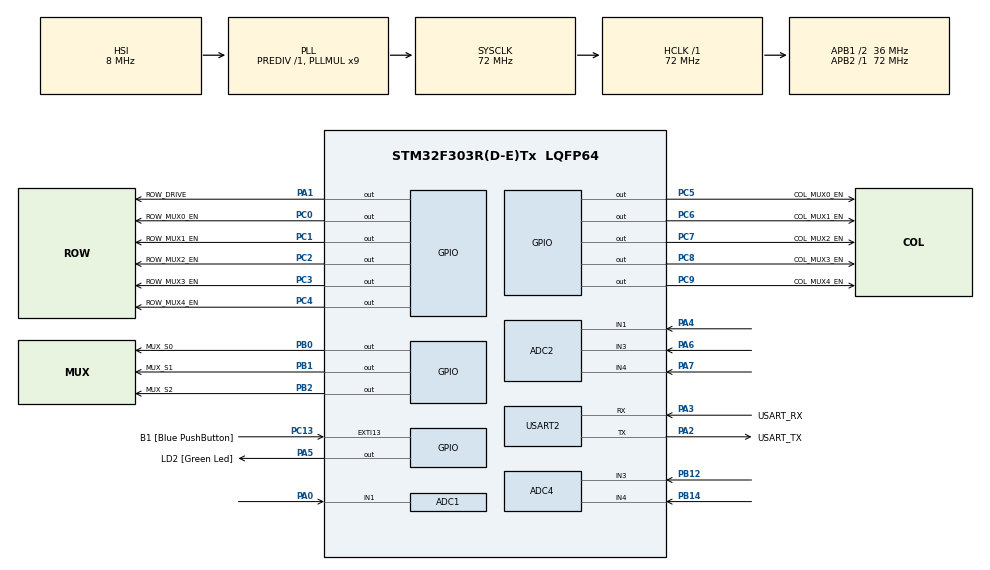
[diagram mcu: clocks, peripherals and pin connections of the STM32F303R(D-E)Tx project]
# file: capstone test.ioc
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ADC1.Channel-0\#ChannelRegularConversion=ADC_CHANNEL_1
ADC1.ContinuousConvMode=ENABLE
ADC1.NbrOfConversionFlag=1
ADC1.Offset-0\#ChannelRegularConversion=0
ADC1.OffsetNumber-0\#ChannelRegularConversion=ADC_OFFSET_NONE
ADC1.Rank-0\#ChannelRegularConversion=1
ADC1.SamplingTime-0\#ChannelRegularConversion=ADC_SAMPLETIME_1CYCLE_5
ADC1.master=1
ADC2.Channel-0\#ChannelRegularConversion=ADC_CHANNEL_1
ADC2.NbrOfConversionFlag=1
ADC2.Offset-0\#ChannelRegularConversion=0
ADC2.OffsetNumber-0\#ChannelRegularConversion=ADC_OFFSET_NONE
ADC2.Rank-0\#ChannelRegularConversion=1
ADC2.SamplingTime-0\#ChannelRegularConversion=ADC_SAMPLETIME_1CYCLE_5
ADC3.Channel-0\#ChannelRegularConversion=ADC_CHANNEL_1
ADC3.NbrOfConversionFlag=1
ADC3.Offset-0\#ChannelRegularConversion=0
ADC3.OffsetNumber-0\#ChannelRegularConversion=ADC_OFFSET_NONE
ADC3.Rank-0\#ChannelRegularConversion=1
ADC3.SamplingTime-0\#ChannelRegularConversion=ADC_SAMPLETIME_1CYCLE_5
ADC3.SamplingTimeOPAMP-0\#ChannelRegularConversion=ADC_SAMPLETIME_61CYCLES_5
ADC3.master=1
ADC4.Channel-0\#ChannelRegularConversion=ADC_CHANNEL_3
ADC4.NbrOfConversionFlag=1
ADC4.Offset-0\#ChannelRegularConversion=0
ADC4.OffsetNumber-0\#ChannelRegularConversion=ADC_OFFSET_NONE
ADC4.Rank-0\#ChannelRegularConversion=1
ADC4.SamplingTime-0\#ChannelRegularConversion=ADC_SAMPLETIME_1CYCLE_5
Mcu.Family=STM32F3
Mcu.Name=STM32F303R(D-E)Tx
Mcu.Package=LQFP64
NVIC.PriorityGroup=NVIC_PRIORITYGROUP_0
PA0.Mode=IN1-Single-Ended
PA0.Signal=ADC1_IN1
PA1.GPIO_Label=ROW_DRIVE
PA1.Signal=GPIO_Output
PA13.GPIO_Label=TMS
PA13.Mode=Serial_Wire
PA13.Signal=SYS_JTMS-SWDIO
PA14.GPIO_Label=TCK
PA14.Mode=Serial_Wire
PA14.Signal=SYS_JTCK-SWCLK
PA2.GPIO_Label=USART_TX
PA2.GPIO_Mode=GPIO_MODE_AF_PP
PA2.GPIO_PuPd=GPIO_NOPULL
PA2.GPIO_Speed=GPIO_SPEED_FREQ_LOW
PA2.Mode=Asynchronous
PA2.Signal=USART2_TX
PA3.GPIO_Label=USART_RX
PA3.GPIO_Mode=GPIO_MODE_AF_PP
PA3.GPIO_PuPd=GPIO_NOPULL
PA3.GPIO_Speed=GPIO_SPEED_FREQ_LOW
PA3.Mode=Asynchronous
PA3.Signal=USART2_RX
PA4.Mode=IN1-Single-Ended
PA4.Signal=ADC2_IN1
PA5.GPIO_Label=LD2 [Green Led]
PA5.GPIO_Mode=GPIO_MODE_OUTPUT_PP
PA5.GPIO_PuPd=GPIO_NOPULL
PA5.GPIO_Speed=GPIO_SPEED_FREQ_LOW
PA5.Signal=GPIO_Output
PA6.Mode=IN3-Single-Ended
PA6.Signal=ADC2_IN3
PA7.Mode=IN4-Single-Ended
PA7.Signal=ADC2_IN4
PB1.Mode=IN1-Single-Ended
PB1.Signal=ADC3_IN1
PB12.Mode=IN3-Single-Ended
PB12.Signal=ADC4_IN3
PB14.Mode=IN4-Single-Ended
PB14.Signal=ADC4_IN4
PB3.GPIO_Label=SWO
PB3.Signal=SYS_JTDO-TRACESWO
PB0.GPIO_Label=MUX_S0
PB0.Signal=GPIO_Output
PB1.GPIO_Label=MUX_S1
PB1.Signal=GPIO_Output
PB2.GPIO_Label=MUX_S2
PB2.Signal=GPIO_Output
PC0.GPIO_Label=ROW_MUX0_EN
PC0.Signal=GPIO_Output
PC1.GPIO_Label=ROW_MUX1_EN
PC1.Signal=GPIO_Output
PC13.GPIO_Label=B1 [Blue PushButton]
PC13.GPIO_ModeDefaultEXTI=GPIO_MODE_IT_FALLING
PC13.Signal=GPXTI13
PC14-OSC32_IN.Mode=LSE-External-Oscillator
PC14-OSC32_IN.Signal=RCC_OSC32_IN
PC15-OSC32_OUT.Mode=LSE-External-Oscillator
PC15-OSC32_OUT.Signal=RCC_OSC32_OUT
PC2.GPIO_Label=ROW_MUX2_EN
PC2.Signal=GPIO_Output
PC3.GPIO_Label=ROW_MUX3_EN
PC3.Signal=GPIO_Output
PC4.GPIO_Label=ROW_MUX4_EN
PC4.Signal=GPIO_Output
PC5.GPIO_Label=COL_MUX0_EN
PC5.Signal=GPIO_Output
PC6.GPIO_Label=COL_MUX1_EN
PC6.Signal=GPIO_Output
PC7.GPIO_Label=COL_MUX2_EN
PC7.Signal=GPIO_Output
PC8.GPIO_Label=COL_MUX3_EN
PC8.Signal=GPIO_Output
PC9.GPIO_Label=COL_MUX4_EN
PC9.Signal=GPIO_Output
PF0-OSC_IN.Mode=HSE-External-Clock-Source
PF0-OSC_IN.Signal=RCC_OSC_IN
PF1-OSC_OUT.Signal=RCC_OSC_OUT
ProjectManager.HeapSize=0x200
ProjectManager.StackSize=0x400
ProjectManager.TargetToolchain=STM32CubeIDE
RCC.AHBFreq_Value=72000000
RCC.APB1CLKDivider=RCC_HCLK_DIV2
RCC.APB1Freq_Value=36000000
RCC.APB1TimFreq_Value=72000000
RCC.APB2Freq_Value=72000000
RCC.APB2TimFreq_Value=72000000
RCC.CortexFreq_Value=72000000
RCC.HCLKFreq_Value=72000000
RCC.HSE_VALUE=8000000
RCC.HSI_VALUE=8000000
RCC.PLLM=8
RCC.PLLMUL=RCC_PLL_MUL9
RCC.PLLN=336
RCC.PLLP=RCC_PLLP_DIV4
RCC.PLLQ=7
RCC.RCC_PLLsource_Clock_Source_FROM_HSE=RCC_HSE_PREDIV_DIV2
RCC.SYSCLKFreq_VALUE=72000000
RCC.SYSCLKSourceVirtual=RCC_SYSCLKSOURCE_PLLCLK
RCC.USBFreq_Value=72000000
SH.ADCx_IN8.0=ADC2_IN8,IN8-Single-Ended
USART2.VirtualMode-Asynchronous=VM_ASYNC
board=NUCLEO-F303RE

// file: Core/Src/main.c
/* USER CODE BEGIN Header */
/**
  ******************************************************************************
  * @file           : main.c
  * @brief          : 40x40 Piezoelectric Force Sensing Grid - Main Program
  ******************************************************************************
  * @attention
  *
  * Copyright (c) 2025 STMicroelectronics.
  * All rights reserved.
  *
  * This software is licensed under terms that can be found in the LICENSE file
  * in the root directory of this software component.
  * If no LICENSE file comes with this software, it is provided AS-IS.
  *
  ******************************************************************************
  *
  *                    SYSTEM OVERVIEW
  *    ┌───────────────────────────────────────────────────────────┐
  *    │                                                           │
  *    │   40×40 Velostat Grid (200×200mm, 5mm copper strips)     │
  *    │          ↓                           ↓                    │
  *    │   5× CD4051 (Rows)            5× CD4051 (Cols)           │
  *    │          ↓                           ↓                    │
  *    │   PA1 (Row Drive)              PA0 (ADC Input)           │
  *    │                    ↓                                      │
  *    │              STM32F303RE                                  │
  *    │                    ↓                                      │
  *    │              UART2 (Binary)                              │
  *    │                    ↓                                      │
  *    │              Python GUI                                   │
  *    │                                                           │
  *    └───────────────────────────────────────────────────────────┘
  *
  ******************************************************************************
  */
/* USER CODE END Header */
#include "main.h"

/* USER CODE BEGIN Includes */
#include <stdio.h>
#include "grid_mux.h"
#include "grid_scan.h"

/* USER CODE END Includes */

/* USER CODE BEGIN PTD */

/**
 *  @brief  40×40 Grid Scanning System
 *
 *  This replaces the old 2×2 direct ADC/GPIO approach with
 *  multiplexed scanning for 1600 sensing points.
 *
 *  Pin Configuration:
 *    - PB0, PB1, PB2: Mux select (S0, S1, S2)
 *    - PC0-PC4: Row mux enables
 *    - PC5-PC9: Col mux enables
 *    - PA0: ADC input (through col muxes)
 *    - PA1: Row drive output (through row muxes)
 */

/* USER CODE END PTD */

ADC_HandleTypeDef hadc1;
ADC_HandleTypeDef hadc2;
ADC_HandleTypeDef hadc3;
ADC_HandleTypeDef hadc4;

UART_HandleTypeDef huart2;

/* USER CODE BEGIN PV */

/**
 * @brief  Flag to enable/disable calibration on startup
 *         Set to 1 to calibrate, 0 to skip
 */
static uint8_t g_DoCalibration = 0;

/* USER CODE END PV */

void SystemClock_Config(void);
static void MX_GPIO_Init(void);
static void MX_USART2_UART_Init(void);
static void MX_ADC1_Init(void);
static void MX_ADC2_Init(void);
static void MX_ADC3_Init(void);
static void MX_ADC4_Init(void);
/* USER CODE BEGIN PFP */

/**
 * @brief  Retarget printf to UART2
 */
int __io_putchar(int ch);

/* USER CODE END PFP */

/* USER CODE BEGIN 0 */

/**
 *  ============================================================================
 *  40×40 GRID SCANNING SYSTEM
 *  ============================================================================
 *
 *  Replaces the old 2×2 direct ADC scanning with multiplexed 40×40 grid.
 *
 *  MAIN LOOP OPERATION:
 *  ┌─────────────────────────────────────────────────────────────┐
 *  │                                                             │
 *  │   ┌───────────┐      ┌──────────────┐     ┌────────────┐   │
 *  │   │  GRID_    │ ───► │  GRID_       │ ──► │  ~25 Hz    │   │
 *  │   │  ScanMatrix│      │  TransmitData│     │  Loop      │   │
 *  │   │  (1600     │      │  (Binary     │     │  Rate      │   │
 *  │   │   cells)   │      │   3206 bytes)│     │            │   │
 *  │   └───────────┘      └──────────────┘     └────────────┘   │
 *  │                                                             │
 *  └─────────────────────────────────────────────────────────────┘
 *
 *  BINARY PROTOCOL:
 *    Header:  0xAA 0x55 (2 bytes)
 *    Payload: 1600 × 16-bit values, little-endian (3200 bytes)
 *    Footer:  Checksum (2 bytes) + CR LF (2 bytes)
 *    Total:   3206 bytes per frame
 *
 */

/**
 * @brief  Retarget printf to UART2 for debug messages
 * @param  ch: Character to transmit
 * @retval Character transmitted
 */
int __io_putchar(int ch)
{
    HAL_UART_Transmit(&huart2, (uint8_t *)&ch, 1, HAL_MAX_DELAY);
    return ch;
}

/* USER CODE END 0 */

int main(void)
{

  /* MCU Configuration--------------------------------------------------------*/

  /* Reset of all peripherals, Initializes the Flash interface and the Systick. */
  HAL_Init();

  /* Configure the system clock */
  SystemClock_Config();

  /* Initialize all configured peripherals */
  MX_GPIO_Init();
  MX_USART2_UART_Init();
  MX_ADC1_Init();
  MX_ADC2_Init();
  MX_ADC3_Init();
  MX_ADC4_Init();
  /* USER CODE BEGIN 2 */

  /*
   *  ════════════════════════════════════════════════════════════════════
   *  INITIALIZATION SEQUENCE FOR 40×40 GRID
   *  ════════════════════════════════════════════════════════════════════
   *
   *   Step 1: Print startup banner
   *   Step 2: Initialize grid scanning system
   *   Step 3: Optional calibration (if g_DoCalibration = 1)
   *   Step 4: Enter main scanning loop
   *
   */

  /* Print startup banner */
  printf("\r\n");
  printf("============================================\r\n");
  printf("  40x40 Piezoelectric Force Sensing Grid   \r\n");
  printf("  Physiotherapy Training System            \r\n");
  printf("============================================\r\n");
  printf("  Grid Size:   40 rows x 40 columns        \r\n");
  printf("  Resolution:  1600 sensing nodes          \r\n");
  printf("  Coverage:    200mm x 200mm               \r\n");
  printf("  Protocol:    Binary (3206 bytes/frame)   \r\n");
  printf("============================================\r\n");
  printf("\r\n");

  /* Initialize the grid scanning system */
  printf("[INIT] Initializing grid scanning system...\r\n");
  GRID_Init(&hadc1, &huart2);
  printf("[INIT] Grid system initialized.\r\n");

  /* Optional: Perform calibration */
  if (g_DoCalibration) {
      printf("[CALIB] Starting calibration - DO NOT TOUCH THE GRID!\r\n");
      HAL_Delay(2000);  /* Give user time to release */
      GRID_Calibrate();
      printf("[CALIB] Calibration complete.\r\n");
  } else {
      printf("[INFO] Skipping calibration (g_DoCalibration = 0)\r\n");
  }

  printf("\r\n[RUN] Starting main scan loop...\r\n");
  HAL_Delay(500);

  /* USER CODE END 2 */

  /* Infinite loop */
  /* USER CODE BEGIN WHILE */
  /* USER CODE BEGIN WHILE */
//  while (1) {
////	  calibrate_row(0);  // <-- choose which row you want to test
//
////      scan_matrix();
////      HAL_Delay(200);
//      term_clear();
//      printf("=== 4 x 8 Matrix ===\r\n");
//
//      for (int row = 0; row < 8; row++) {
//          // --- select row ---
//          // if your rows are tied directly to ADC2/3/4 channels,
//          // you might instead *drive* row via GPIO and *read* columns here.
//          // For now: assume rows = 8 ADC channels total.
//
//          uint32_t c0 = read_adc(&hadc1, ADC_CHANNEL_1); // PA0
//          uint32_t c1 = read_adc(&hadc1, ADC_CHANNEL_2); // PA1
//          uint32_t c2 = read_adc(&hadc1, ADC_CHANNEL_6); // PC0
//          uint32_t c3 = read_adc(&hadc1, ADC_CHANNEL_7); // PC1
//
//          // You’ll need to adjust which ADC/channel corresponds to row X.
//          // Example placeholders:
//          uint32_t row_val;
//          if (row < 2) row_val = read_adc(&hadc2, row==0 ? ADC_CHANNEL_1 : ADC_CHANNEL_2);
//          else if (row < 4) row_val = read_adc(&hadc3, (row==2)? ADC_CHANNEL_1 : ADC_CHANNEL_2);
//          else row_val = read_adc(&hadc4, (row==4)? ADC_CHANNEL_1 :
//                                             (row==5)? ADC_CHANNEL_2 :
//                                             (row==6)? ADC_CHANNEL_3 : ADC_CHANNEL_4);
//
//          // --- print row ---
//          printf("R%d | %4lu %4lu %4lu %4lu  (rowADC=%lu)\r\n",
//                 row, c0, c1, c2, c3, row_val);
//      }
//
//      HAL_Delay(200);
//  }
  /* USER CODE BEGIN WHILE */
//  while (1)
//  {
//    // --- NEW 2x2 DATA STREAMING CODE ---
//    uint32_t raw_matrix[2][2];
//    uint32_t pressure_matrix[2][2];
//
//    // === Step 1: Scan Row 0 (PC1) ===
//    HAL_GPIO_WritePin(ROW_DRIVE_1_GPIO_Port, ROW_DRIVE_1_Pin, GPIO_PIN_SET); // Deactivate Row 1 (PC0)
//    HAL_GPIO_WritePin(ROW_DRIVE_0_GPIO_Port, ROW_DRIVE_0_Pin, GPIO_PIN_RESET); // Activate Row 0 (PC1)
//    HAL_Delay(1);
//
//    raw_matrix[0][0] = read_adc(&hadc1, ADC_CHANNEL_1); // Read (Row 0, Col 0) -> PA0
//    raw_matrix[0][1] = read_adc(&hadc1, ADC_CHANNEL_2); // Read (Row 0, Col 1) -> PA1
//
//    // === Step 2: Scan Row 1 (PC0) ===
//    HAL_GPIO_WritePin(ROW_DRIVE_0_GPIO_Port, ROW_DRIVE_0_Pin, GPIO_PIN_SET); // Deactivate Row 0 (PC1)
//    HAL_GPIO_WritePin(ROW_DRIVE_1_GPIO_Port, ROW_DRIVE_1_Pin, GPIO_PIN_RESET); // Activate Row 1 (PC0)
//    HAL_Delay(1);
//
//    raw_matrix[1][0] = read_adc(&hadc1, ADC_CHANNEL_1); // Read (Row 1, Col 0) -> PA0
//    raw_matrix[1][1] = read_adc(&hadc1, ADC_CHANNEL_2); // Read (Row 1, Col 1) -> PA1
//
//    // === Step 3: Deactivate all rows ===
//    HAL_GPIO_WritePin(ROW_DRIVE_0_GPIO_Port, ROW_DRIVE_0_Pin, GPIO_PIN_SET);
//    HAL_GPIO_WritePin(ROW_DRIVE_1_GPIO_Port, ROW_DRIVE_1_Pin, GPIO_PIN_SET);
//
//    // === Step 4: Process and Print Clean Data ===
//
//    // "Flip" the values to get pressure
//    pressure_matrix[0][0] = (raw_matrix[0][0] > 4050) ? 0 : (4095 - raw_matrix[0][0]);
//    pressure_matrix[0][1] = (raw_matrix[0][1] > 4050) ? 0 : (4095 - raw_matrix[0][1]);
//    pressure_matrix[1][0] = (raw_matrix[1][0] > 4050) ? 0 : (4095 - raw_matrix[1][0]);
//    pressure_matrix[1][1] = (raw_matrix[1][1] > 4050) ? 0 : (4095 - raw_matrix[1][1]);
//
//    // Print all 4 values on one line, separated by commas.
//    // This is the *only* thing you should print.
//    printf("%lu,%lu,%lu,%lu\n",
//           pressure_matrix[0][0],
//           pressure_matrix[0][1],
//           pressure_matrix[1][0],
//           pressure_matrix[1][1]
//    );
//
//    HAL_Delay(50); // Send data ~20 times per second
//
//    // --- END NEW CODE ---
//    /* USER CODE END WHILE */
//
//    /* USER CODE BEGIN 3 */
//  }
  /* USER CODE BEGIN WHILE */
  //OLD PYTHON
//    while (1)
//    {
//      // --- NEW 2x2 DATA STREAMING CODE ---
//      uint32_t raw_matrix[2][2];
//      uint32_t pressure_matrix[2][2];
//
//      // === Step 1: Scan Row 0 (PC1) ===
//      HAL_GPIO_WritePin(ROW_DRIVE_1_GPIO_Port, ROW_DRIVE_1_Pin, GPIO_PIN_SET); // Deactivate Row 1 (PC0)
//      HAL_GPIO_WritePin(ROW_DRIVE_0_GPIO_Port, ROW_DRIVE_0_Pin, GPIO_PIN_RESET); // Activate Row 0 (PC1)
//      HAL_Delay(1);
//
//      raw_matrix[0][0] = read_adc(&hadc1, ADC_CHANNEL_1); // Read (Row 0, Col 0) -> PA0
//      raw_matrix[0][1] = read_adc(&hadc1, ADC_CHANNEL_2); // Read (Row 0, Col 1) -> PA1
//
//      // === Step 2: Scan Row 1 (PC0) ===
//      HAL_GPIO_WritePin(ROW_DRIVE_0_GPIO_Port, ROW_DRIVE_0_Pin, GPIO_PIN_SET); // Deactivate Row 0 (PC1)
//      HAL_GPIO_WritePin(ROW_DRIVE_1_GPIO_Port, ROW_DRIVE_1_Pin, GPIO_PIN_RESET); // Activate Row 1 (PC0)
//      HAL_Delay(1);
//
//      raw_matrix[1][0] = read_adc(&hadc1, ADC_CHANNEL_1); // Read (Row 1, Col 0) -> PA0
//      raw_matrix[1][1] = read_adc(&hadc1, ADC_CHANNEL_2); // Read (Row 1, Col 1) -> PA1
//
//      // === Step 3: Deactivate all rows ===
//      HAL_GPIO_WritePin(ROW_DRIVE_0_GPIO_Port, ROW_DRIVE_0_Pin, GPIO_PIN_SET);
//      HAL_GPIO_WritePin(ROW_DRIVE_1_GPIO_Port, ROW_DRIVE_1_Pin, GPIO_PIN_SET);
//
//      // === Step 4: Process and Print Clean Data ===
//
//      // "Flip" the values to get pressure
//      pressure_matrix[0][0] = (raw_matrix[0][0] > 4050) ? 0 : (4095 - raw_matrix[0][0]);
//      pressure_matrix[0][1] = (raw_matrix[0][1] > 4050) ? 0 : (4095 - raw_matrix[0][1]);
//      pressure_matrix[1][0] = (raw_matrix[1][0] > 4050) ? 0 : (4095 - raw_matrix[1][0]);
//      pressure_matrix[1][1] = (raw_matrix[1][1] > 4050) ? 0 : (4095 - raw_matrix[1][1]);
//
//      // Print all 4 values on one line, separated by commas.
//      // This is the *only* thing you should print.
//      printf("%lu,%lu,%lu,%lu\n",
//             pressure_matrix[0][0],
//             pressure_matrix[0][1],
//             pressure_matrix[1][0],
//             pressure_matrix[1][1]
//      );
//
//      HAL_Delay(50); // Send data ~20 times per second
//
//      // --- END NEW CODE ---
//      /* USER CODE END WHILE */
//
//      /* USER CODE BEGIN 3 */
//    }
    /* USER CODE END 3 */
    /* USER CODE BEGIN WHILE */
  /* USER CODE BEGIN WHILE */
    while (1)
    {
      /*
       *  ═══════════════════════════════════════════════════════════
       *  MAIN SCAN LOOP - 40×40 GRID
       *  ═══════════════════════════════════════════════════════════
       *
       *  This loop:
       *    1. Scans all 1600 cells (40 rows × 40 columns)
       *    2. Transmits binary data packet (3206 bytes)
       *    3. Repeats at ~25 Hz
       *
       *  The scanning and transmission are handled by GRID_ScanLoop()
       *  which calls GRID_ScanMatrix() and GRID_TransmitData().
       *
       */

      /* Execute one complete scan + transmit cycle */
      GRID_ScanLoop();

      /*
       * Toggle LED to show activity (optional)
       * HAL_GPIO_TogglePin(LD2_GPIO_Port, LD2_Pin);
       */

      /* USER CODE END WHILE */

    }
// HUMAN READABLE
//    while (1)
//    {
//      // --- NEW 2x2 MATRIX SCAN CODE ---
//      uint32_t raw_matrix[2][2];
//      uint32_t pressure_matrix[2][2];
//
//      // === Step 1: Scan Row 0 (PC1) ===
//      HAL_GPIO_WritePin(ROW_DRIVE_1_GPIO_Port, ROW_DRIVE_1_Pin, GPIO_PIN_SET); // Deactivate Row 1 (PC0)
//      HAL_GPIO_WritePin(ROW_DRIVE_0_GPIO_Port, ROW_DRIVE_0_Pin, GPIO_PIN_RESET); // Activate Row 0 (PC1)
//      HAL_Delay(1); // Short delay for voltages to settle
//
//      raw_matrix[0][0] = read_adc(&hadc1, ADC_CHANNEL_1); // Read (Row 0, Col 0) -> PA0
//      raw_matrix[0][1] = read_adc(&hadc1, ADC_CHANNEL_2); // Read (Row 0, Col 1) -> PA1
//
//      // === Step 2: Scan Row 1 (PC0) ===
//      HAL_GPIO_WritePin(ROW_DRIVE_0_GPIO_Port, ROW_DRIVE_0_Pin, GPIO_PIN_SET); // Deactivate Row 0 (PC1)
//      HAL_GPIO_WritePin(ROW_DRIVE_1_GPIO_Port, ROW_DRIVE_1_Pin, GPIO_PIN_RESET); // Activate Row 1 (PC0)
//      HAL_Delay(1); // Short delay
//
//      raw_matrix[1][0] = read_adc(&hadc1, ADC_CHANNEL_1); // Read (Row 1, Col 0) -> PA0
//      raw_matrix[1][1] = read_adc(&hadc1, ADC_CHANNEL_2); // Read (Row 1, Col 1) -> PA1
//
//      // === Step 3: Deactivate all rows ===
//      HAL_GPIO_WritePin(ROW_DRIVE_0_GPIO_Port, ROW_DRIVE_0_Pin, GPIO_PIN_SET); // Deactivate Row 0
//      HAL_GPIO_WritePin(ROW_DRIVE_1_GPIO_Port, ROW_DRIVE_1_Pin, GPIO_PIN_SET); // Deactivate Row 1
//
//
//      // === Step 4: Process and Print the Values ===
//      term_clear();
//      printf("2x2 Matrix Read Test:\r\n");
//      printf("---------------------\r\n");
//
//      for (int r = 0; r < 2; r++) {
//        for (int c = 0; c < 2; c++) {
//          // "Flip" the value. 4095 (no press) becomes 0.
//          pressure_matrix[r][c] = (raw_matrix[r][c] > 4050) ? 0 : (4095 - raw_matrix[r][c]);
//
//          // Print the processed pressure value
//          printf("%5lu ", pressure_matrix[r][c]);
//        }
//        printf("\r\n"); // New line after each row
//      }
//
//      printf("\r\nRaw ADC Values:\r\n");
//      printf("%5lu %5lu\r\n", raw_matrix[0][0], raw_matrix[0][1]);
//      printf("%5lu %5lu\r\n", raw_matrix[1][0], raw_matrix[1][1]);
//
//
//      HAL_Delay(100); // 100ms delay for readability
//
//      // --- END NEW CODE ---
//      /* USER CODE END WHILE */
//
//      /* USER CODE BEGIN 3 */
//    }
    /* USER CODE END 3 */
  /* USER CODE END 3 */
}

void SystemClock_Config(void)
{
  RCC_OscInitTypeDef RCC_OscInitStruct = {0};
  RCC_ClkInitTypeDef RCC_ClkInitStruct = {0};
  RCC_PeriphCLKInitTypeDef PeriphClkInit = {0};

  /** Initializes the RCC Oscillators according to the specified parameters
  * in the RCC_OscInitTypeDef structure.
  */
  RCC_OscInitStruct.OscillatorType = RCC_OSCILLATORTYPE_HSI;
  RCC_OscInitStruct.HSIState = RCC_HSI_ON;
  RCC_OscInitStruct.HSICalibrationValue = RCC_HSICALIBRATION_DEFAULT;
  RCC_OscInitStruct.PLL.PLLState = RCC_PLL_ON;
  RCC_OscInitStruct.PLL.PLLSource = RCC_PLLSOURCE_HSI;
  RCC_OscInitStruct.PLL.PLLMUL = RCC_PLL_MUL9;
  RCC_OscInitStruct.PLL.PREDIV = RCC_PREDIV_DIV1;
  if (HAL_RCC_OscConfig(&RCC_OscInitStruct) != HAL_OK)
  {
    Error_Handler();
  }

  /** Initializes the CPU, AHB and APB buses clocks
  */
  RCC_ClkInitStruct.ClockType = RCC_CLOCKTYPE_HCLK|RCC_CLOCKTYPE_SYSCLK
                              |RCC_CLOCKTYPE_PCLK1|RCC_CLOCKTYPE_PCLK2;
  RCC_ClkInitStruct.SYSCLKSource = RCC_SYSCLKSOURCE_PLLCLK;
  RCC_ClkInitStruct.AHBCLKDivider = RCC_SYSCLK_DIV1;
  RCC_ClkInitStruct.APB1CLKDivider = RCC_HCLK_DIV2;
  RCC_ClkInitStruct.APB2CLKDivider = RCC_HCLK_DIV1;

  if (HAL_RCC_ClockConfig(&RCC_ClkInitStruct, FLASH_LATENCY_2) != HAL_OK)
  {
    Error_Handler();
  }
  PeriphClkInit.PeriphClockSelection = RCC_PERIPHCLK_USART2|RCC_PERIPHCLK_ADC12
                              |RCC_PERIPHCLK_ADC34;
  PeriphClkInit.Usart2ClockSelection = RCC_USART2CLKSOURCE_PCLK1;
  PeriphClkInit.Adc12ClockSelection = RCC_ADC12PLLCLK_DIV1;
  PeriphClkInit.Adc34ClockSelection = RCC_ADC34PLLCLK_DIV1;
  if (HAL_RCCEx_PeriphCLKConfig(&PeriphClkInit) != HAL_OK)
  {
    Error_Handler();
  }
}

static void MX_ADC1_Init(void)
{

  ADC_MultiModeTypeDef multimode = {0};
  ADC_ChannelConfTypeDef sConfig = {0};

  /** Common config
  */
  hadc1.Instance = ADC1;
  hadc1.Init.ClockPrescaler = ADC_CLOCK_ASYNC_DIV1;
  hadc1.Init.Resolution = ADC_RESOLUTION_12B;
  hadc1.Init.ScanConvMode = ADC_SCAN_DISABLE;
  hadc1.Init.ContinuousConvMode = ENABLE;
  hadc1.Init.DiscontinuousConvMode = DISABLE;
  hadc1.Init.ExternalTrigConvEdge = ADC_EXTERNALTRIGCONVEDGE_NONE;
  hadc1.Init.ExternalTrigConv = ADC_SOFTWARE_START;
  hadc1.Init.DataAlign = ADC_DATAALIGN_RIGHT;
  hadc1.Init.NbrOfConversion = 1;
  hadc1.Init.DMAContinuousRequests = DISABLE;
  hadc1.Init.EOCSelection = ADC_EOC_SINGLE_CONV;
  hadc1.Init.LowPowerAutoWait = DISABLE;
  hadc1.Init.Overrun = ADC_OVR_DATA_OVERWRITTEN;
  if (HAL_ADC_Init(&hadc1) != HAL_OK)
  {
    Error_Handler();
  }

  /** Configure the ADC multi-mode
  */
  multimode.Mode = ADC_MODE_INDEPENDENT;
  if (HAL_ADCEx_MultiModeConfigChannel(&hadc1, &multimode) != HAL_OK)
  {
    Error_Handler();
  }

  /** Configure Regular Channel
  */
  sConfig.Channel = ADC_CHANNEL_1;
  sConfig.Rank = ADC_REGULAR_RANK_1;
  sConfig.SingleDiff = ADC_SINGLE_ENDED;
  sConfig.SamplingTime = ADC_SAMPLETIME_1CYCLE_5;
  sConfig.OffsetNumber = ADC_OFFSET_NONE;
  sConfig.Offset = 0;
  if (HAL_ADC_ConfigChannel(&hadc1, &sConfig) != HAL_OK)
  {
    Error_Handler();
  }

}

static void MX_ADC2_Init(void)
{

  ADC_ChannelConfTypeDef sConfig = {0};

  /** Common config
  */
  hadc2.Instance = ADC2;
  hadc2.Init.ClockPrescaler = ADC_CLOCK_ASYNC_DIV1;
  hadc2.Init.Resolution = ADC_RESOLUTION_12B;
  hadc2.Init.ScanConvMode = ADC_SCAN_DISABLE;
  hadc2.Init.ContinuousConvMode = DISABLE;
  hadc2.Init.DiscontinuousConvMode = DISABLE;
  hadc2.Init.ExternalTrigConvEdge = ADC_EXTERNALTRIGCONVEDGE_NONE;
  hadc2.Init.ExternalTrigConv = ADC_SOFTWARE_START;
  hadc2.Init.DataAlign = ADC_DATAALIGN_RIGHT;
  hadc2.Init.NbrOfConversion = 1;
  hadc2.Init.DMAContinuousRequests = DISABLE;
  hadc2.Init.EOCSelection = ADC_EOC_SINGLE_CONV;
  hadc2.Init.LowPowerAutoWait = DISABLE;
  hadc2.Init.Overrun = ADC_OVR_DATA_OVERWRITTEN;
  if (HAL_ADC_Init(&hadc2) != HAL_OK)
  {
    Error_Handler();
  }

  /** Configure Regular Channel
  */
  sConfig.Channel = ADC_CHANNEL_1;
  sConfig.Rank = ADC_REGULAR_RANK_1;
  sConfig.SingleDiff = ADC_SINGLE_ENDED;
  sConfig.SamplingTime = ADC_SAMPLETIME_1CYCLE_5;
  sConfig.OffsetNumber = ADC_OFFSET_NONE;
  sConfig.Offset = 0;
  if (HAL_ADC_ConfigChannel(&hadc2, &sConfig) != HAL_OK)
  {
    Error_Handler();
  }

}

static void MX_ADC3_Init(void)
{

  ADC_MultiModeTypeDef multimode = {0};
  ADC_ChannelConfTypeDef sConfig = {0};

  /** Common config
  */
  hadc3.Instance = ADC3;
  hadc3.Init.ClockPrescaler = ADC_CLOCK_ASYNC_DIV1;
  hadc3.Init.Resolution = ADC_RESOLUTION_12B;
  hadc3.Init.ScanConvMode = ADC_SCAN_DISABLE;
  hadc3.Init.ContinuousConvMode = DISABLE;
  hadc3.Init.DiscontinuousConvMode = DISABLE;
  hadc3.Init.ExternalTrigConvEdge = ADC_EXTERNALTRIGCONVEDGE_NONE;
  hadc3.Init.ExternalTrigConv = ADC_SOFTWARE_START;
  hadc3.Init.DataAlign = ADC_DATAALIGN_RIGHT;
  hadc3.Init.NbrOfConversion = 1;
  hadc3.Init.DMAContinuousRequests = DISABLE;
  hadc3.Init.EOCSelection = ADC_EOC_SINGLE_CONV;
  hadc3.Init.LowPowerAutoWait = DISABLE;
  hadc3.Init.Overrun = ADC_OVR_DATA_OVERWRITTEN;
  if (HAL_ADC_Init(&hadc3) != HAL_OK)
  {
    Error_Handler();
  }

  /** Configure the ADC multi-mode
  */
  multimode.Mode = ADC_MODE_INDEPENDENT;
  if (HAL_ADCEx_MultiModeConfigChannel(&hadc3, &multimode) != HAL_OK)
  {
    Error_Handler();
  }

  /** Configure Regular Channel
  */
  sConfig.Channel = ADC_CHANNEL_1;
  sConfig.Rank = ADC_REGULAR_RANK_1;
  sConfig.SingleDiff = ADC_SINGLE_ENDED;
  sConfig.SamplingTime = ADC_SAMPLETIME_1CYCLE_5;
  sConfig.OffsetNumber = ADC_OFFSET_NONE;
  sConfig.Offset = 0;
  if (HAL_ADC_ConfigChannel(&hadc3, &sConfig) != HAL_OK)
  {
    Error_Handler();
  }

}

static void MX_ADC4_Init(void)
{

  ADC_ChannelConfTypeDef sConfig = {0};

  /** Common config
  */
  hadc4.Instance = ADC4;
  hadc4.Init.ClockPrescaler = ADC_CLOCK_ASYNC_DIV1;
  hadc4.Init.Resolution = ADC_RESOLUTION_12B;
  hadc4.Init.ScanConvMode = ADC_SCAN_DISABLE;
  hadc4.Init.ContinuousConvMode = DISABLE;
  hadc4.Init.DiscontinuousConvMode = DISABLE;
  hadc4.Init.ExternalTrigConvEdge = ADC_EXTERNALTRIGCONVEDGE_NONE;
  hadc4.Init.ExternalTrigConv = ADC_SOFTWARE_START;
  hadc4.Init.DataAlign = ADC_DATAALIGN_RIGHT;
  hadc4.Init.NbrOfConversion = 1;
  hadc4.Init.DMAContinuousRequests = DISABLE;
  hadc4.Init.EOCSelection = ADC_EOC_SINGLE_CONV;
  hadc4.Init.LowPowerAutoWait = DISABLE;
  hadc4.Init.Overrun = ADC_OVR_DATA_OVERWRITTEN;
  if (HAL_ADC_Init(&hadc4) != HAL_OK)
  {
    Error_Handler();
  }

  /** Configure Regular Channel
  */
  sConfig.Channel = ADC_CHANNEL_3;
  sConfig.Rank = ADC_REGULAR_RANK_1;
  sConfig.SingleDiff = ADC_SINGLE_ENDED;
  sConfig.SamplingTime = ADC_SAMPLETIME_1CYCLE_5;
  sConfig.OffsetNumber = ADC_OFFSET_NONE;
  sConfig.Offset = 0;
  if (HAL_ADC_ConfigChannel(&hadc4, &sConfig) != HAL_OK)
  {
    Error_Handler();
  }

}

static void MX_USART2_UART_Init(void)
{

  huart2.Instance = USART2;
  huart2.Init.BaudRate = 115200;
  huart2.Init.WordLength = UART_WORDLENGTH_8B;
  huart2.Init.StopBits = UART_STOPBITS_1;
  huart2.Init.Parity = UART_PARITY_NONE;
  huart2.Init.Mode = UART_MODE_TX_RX;
  huart2.Init.HwFlowCtl = UART_HWCONTROL_NONE;
  huart2.Init.OverSampling = UART_OVERSAMPLING_16;
  huart2.Init.OneBitSampling = UART_ONE_BIT_SAMPLE_DISABLE;
  huart2.AdvancedInit.AdvFeatureInit = UART_ADVFEATURE_NO_INIT;
  if (HAL_UART_Init(&huart2) != HAL_OK)
  {
    Error_Handler();
  }

}

static void MX_GPIO_Init(void)
{
  GPIO_InitTypeDef GPIO_InitStruct = {0};

  /* GPIO Ports Clock Enable */
  __HAL_RCC_GPIOC_CLK_ENABLE();
  __HAL_RCC_GPIOF_CLK_ENABLE();
  __HAL_RCC_GPIOA_CLK_ENABLE();
  __HAL_RCC_GPIOB_CLK_ENABLE();

  /*Configure GPIO pin Output Level */
  HAL_GPIO_WritePin(GPIOC, ROW_DRIVE_1_Pin|ROW_DRIVE_0_Pin, GPIO_PIN_RESET);

  /*Configure GPIO pin Output Level */
  HAL_GPIO_WritePin(LD2_GPIO_Port, LD2_Pin, GPIO_PIN_RESET);

  /*Configure GPIO pin : B1_Pin */
  GPIO_InitStruct.Pin = B1_Pin;
  GPIO_InitStruct.Mode = GPIO_MODE_IT_FALLING;
  GPIO_InitStruct.Pull = GPIO_NOPULL;
  HAL_GPIO_Init(B1_GPIO_Port, &GPIO_InitStruct);

  /*Configure GPIO pins : ROW_DRIVE_1_Pin ROW_DRIVE_0_Pin */
  GPIO_InitStruct.Pin = ROW_DRIVE_1_Pin|ROW_DRIVE_0_Pin;
  GPIO_InitStruct.Mode = GPIO_MODE_OUTPUT_PP;
  GPIO_InitStruct.Pull = GPIO_NOPULL;
  GPIO_InitStruct.Speed = GPIO_SPEED_FREQ_LOW;
  HAL_GPIO_Init(GPIOC, &GPIO_InitStruct);

  /*Configure GPIO pin : LD2_Pin */
  GPIO_InitStruct.Pin = LD2_Pin;
  GPIO_InitStruct.Mode = GPIO_MODE_OUTPUT_PP;
  GPIO_InitStruct.Pull = GPIO_NOPULL;
  GPIO_InitStruct.Speed = GPIO_SPEED_FREQ_LOW;
  HAL_GPIO_Init(LD2_GPIO_Port, &GPIO_InitStruct);

}

void Error_Handler(void)
{
  __disable_irq();
  while (1)
  {
  }
}
